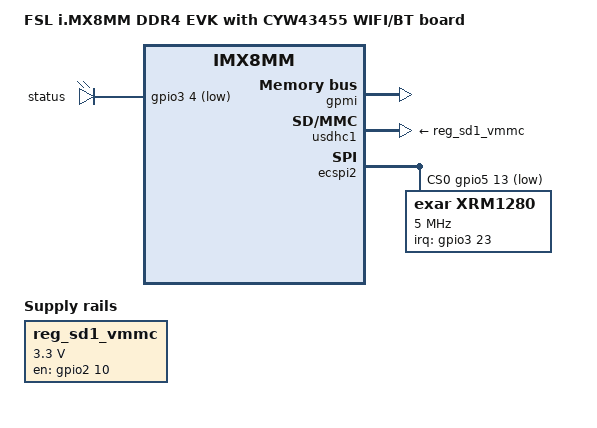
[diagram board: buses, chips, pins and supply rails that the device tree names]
// SPDX-License-Identifier: GPL-2.0+
/*
 * Copyright 2020 NXP
 */

/dts-v1/;

#include "imx8mm-evk.dtsi"

/ {
	model = "FSL i.MX8MM DDR4 EVK with CYW43455 WIFI/BT board";
	compatible = "fsl,imx8mm-ddr4-evk", "fsl,imx8mm";

	leds {
		pinctrl-0 = <&pinctrl_gpio_led_2>;

		status {
			gpios = <&gpio3 4 GPIO_ACTIVE_LOW>;
		};
	};

	regulators {
		compatible = "simple-bus";
		#address-cells = <1>;
		#size-cells = <0>;
		reg_sd1_vmmc: sd1_regulator {
			compatible = "regulator-fixed";
			regulator-name = "WLAN_EN";
			regulator-min-microvolt = <3300000>;
			regulator-max-microvolt = <3300000>;
			gpio = <&gpio2 10 GPIO_ACTIVE_HIGH>;
			off-on-delay = <20000>;
			startup-delay-us = <100>;
			enable-active-high;
		};
	};

	usdhc1_pwrseq: usdhc1_pwrseq {
		compatible = "mmc-pwrseq-simple";
		pinctrl-names = "default";
		pinctrl-0 = <&pinctrl_usdhc1_gpio>;
		reset-gpios = <&gpio2 10 GPIO_ACTIVE_LOW>;
	};
};

&gpmi {
	pinctrl-names = "default";
	pinctrl-0 = <&pinctrl_gpmi_nand>;
	nand-on-flash-bbt;
	status = "okay";
};

&iomuxc {
	pinctrl_gpmi_nand: gpmi-nand {
		fsl,pins = <
			MX8MM_IOMUXC_NAND_ALE_RAWNAND_ALE		0x00000096
			MX8MM_IOMUXC_NAND_CE0_B_RAWNAND_CE0_B		0x00000096
			MX8MM_IOMUXC_NAND_CE1_B_RAWNAND_CE1_B		0x00000096
			MX8MM_IOMUXC_NAND_CLE_RAWNAND_CLE		0x00000096
			MX8MM_IOMUXC_NAND_DATA00_RAWNAND_DATA00		0x00000096
			MX8MM_IOMUXC_NAND_DATA01_RAWNAND_DATA01		0x00000096
			MX8MM_IOMUXC_NAND_DATA02_RAWNAND_DATA02		0x00000096
			MX8MM_IOMUXC_NAND_DATA03_RAWNAND_DATA03		0x00000096
			MX8MM_IOMUXC_NAND_DATA04_RAWNAND_DATA04		0x00000096
			MX8MM_IOMUXC_NAND_DATA05_RAWNAND_DATA05		0x00000096
			MX8MM_IOMUXC_NAND_DATA06_RAWNAND_DATA06		0x00000096
			MX8MM_IOMUXC_NAND_DATA07_RAWNAND_DATA07		0x00000096
			MX8MM_IOMUXC_NAND_RE_B_RAWNAND_RE_B		0x00000096
			MX8MM_IOMUXC_NAND_READY_B_RAWNAND_READY_B	0x00000056
			MX8MM_IOMUXC_NAND_WE_B_RAWNAND_WE_B		0x00000096
			MX8MM_IOMUXC_NAND_WP_B_RAWNAND_WP_B		0x00000096
		>;
	};

	pinctrl_gpio_led_2: gpioled2grp {
		fsl,pins = <
			MX8MM_IOMUXC_NAND_CE3_B_GPIO3_IO4	0x19
		>;
	};

	pinctrl_usdhc1_gpio: usdhc1grpgpio {
			fsl,pins = <
				MX8MM_IOMUXC_SD1_RESET_B_GPIO2_IO10	0x41
			>;
		};
		pinctrl_usdhc1: usdhc1grp {
			fsl,pins = <
				MX8MM_IOMUXC_SD1_CLK_USDHC1_CLK		0x190
				MX8MM_IOMUXC_SD1_CMD_USDHC1_CMD		0x1d0
				MX8MM_IOMUXC_SD1_DATA0_USDHC1_DATA0	0x1d0
				MX8MM_IOMUXC_SD1_DATA1_USDHC1_DATA1	0x1d0
				MX8MM_IOMUXC_SD1_DATA2_USDHC1_DATA2	0x1d0
				MX8MM_IOMUXC_SD1_DATA3_USDHC1_DATA3	0x1d0
			>;
		};
		pinctrl_usdhc1_100mhz: usdhc1grp100mhz {
			fsl,pins = <
				MX8MM_IOMUXC_SD1_CLK_USDHC1_CLK		0x194
				MX8MM_IOMUXC_SD1_CMD_USDHC1_CMD		0x1d4
				MX8MM_IOMUXC_SD1_DATA0_USDHC1_DATA0	0x1d4
				MX8MM_IOMUXC_SD1_DATA1_USDHC1_DATA1	0x1d4
				MX8MM_IOMUXC_SD1_DATA2_USDHC1_DATA2	0x1d4
				MX8MM_IOMUXC_SD1_DATA3_USDHC1_DATA3	0x1d4
			>;
		};
		pinctrl_usdhc1_200mhz: usdhc1grp200mhz {
			fsl,pins = <
				MX8MM_IOMUXC_SD1_CLK_USDHC1_CLK		0x196
				MX8MM_IOMUXC_SD1_CMD_USDHC1_CMD		0x1d6
				MX8MM_IOMUXC_SD1_DATA0_USDHC1_DATA0	0x1d6
				MX8MM_IOMUXC_SD1_DATA1_USDHC1_DATA1	0x1d6
				MX8MM_IOMUXC_SD1_DATA2_USDHC1_DATA2	0x1d6
				MX8MM_IOMUXC_SD1_DATA3_USDHC1_DATA3	0x1d6
			>;
		};
				pinctrl_wlan: wlangrp {
			fsl,pins = <
				MX8MM_IOMUXC_GPIO1_IO00_ANAMIX_REF_CLK_32K	0x141
				MX8MM_IOMUXC_SD1_DATA7_GPIO2_IO9		0x111
			>;
		};
	pinctrl_espi2: espi2grp {
		fsl,pins = <
			MX8MM_IOMUXC_ECSPI2_SCLK_ECSPI2_SCLK		0x82
			MX8MM_IOMUXC_ECSPI2_MOSI_ECSPI2_MOSI		0x82
			MX8MM_IOMUXC_ECSPI2_MISO_ECSPI2_MISO		0x82
			MX8MM_IOMUXC_ECSPI2_SS0_GPIO5_IO13		0x41
			MX8MM_IOMUXC_SAI5_RXD2_GPIO3_IO23 0x41 // IRQ
		>;
	};


};

&reg_sd1_vmmc {
	status = "okay";
};
&usdhc1 {
	pinctrl-0 = <&pinctrl_usdhc1>, <&pinctrl_usdhc1_gpio>;
	pinctrl-1 = <&pinctrl_usdhc1_100mhz>, <&pinctrl_usdhc1_gpio>;
	pinctrl-2 = <&pinctrl_usdhc1_200mhz>, <&pinctrl_usdhc1_gpio>;
	vmmc-supply = <&reg_sd1_vmmc>;
	/delete-property/ mmc-pwrseq;
	/delete-property/ cap-power-off-card;
	brcmf: bcrmf@1 {
		status = "disabled";
	};
};
&usdhc1_pwrseq {
	status = "disabled";
};

&ecspi2 {
	pinctrl-names = "default";
	pinctrl-0 = <&pinctrl_espi2>;
	cs-gpios = <&gpio5 13 GPIO_ACTIVE_LOW>;
	status = "okay";

/*
	spidev0: spi@0 {
		compatible = "spidev";
		reg = <0>;
		spi-max-frequency = <5000000>;
	};
*/
	xrm1280@0 {
		compatible = "exar,xrm1280";
		reg = <0>;
		spi-max-frequency = <5000000>;
		//spi-max-frequency = <26000000>;
		//clock-frequency = <24000000>;
    	clock-frequency = <14745600>; // as per Y4 on the devkit
		//spi-cpha;
		//spi-cpol;

		interrupt-parent = <&gpio3>;
		interrupts = <23 IRQ_TYPE_LEVEL_LOW>;
	};
};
